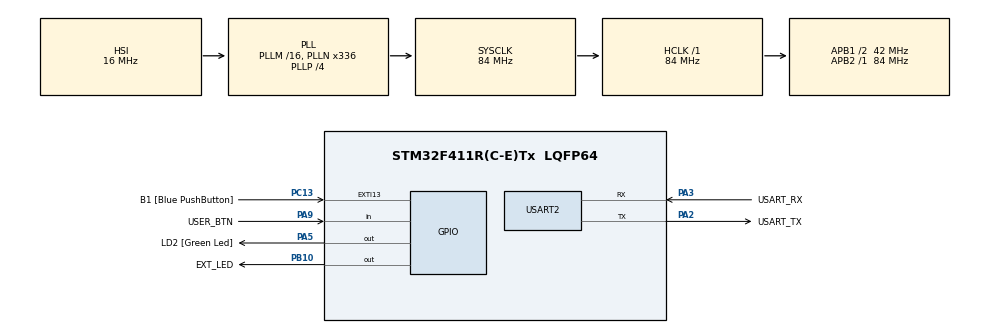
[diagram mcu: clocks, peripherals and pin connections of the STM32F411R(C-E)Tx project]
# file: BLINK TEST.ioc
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Mcu.Family=STM32F4
Mcu.Name=STM32F411R(C-E)Tx
Mcu.Package=LQFP64
NVIC.PriorityGroup=NVIC_PRIORITYGROUP_0
PA13.GPIO_Label=TMS
PA13.Mode=Serial_Wire
PA13.Signal=SYS_JTMS-SWDIO
PA14.GPIO_Label=TCK
PA14.Mode=Serial_Wire
PA14.Signal=SYS_JTCK-SWCLK
PA2.GPIO_Label=USART_TX
PA2.Mode=Asynchronous
PA2.Signal=USART2_TX
PA3.GPIO_Label=USART_RX
PA3.Mode=Asynchronous
PA3.Signal=USART2_RX
PA5.GPIO_Label=LD2 [Green Led]
PA5.Signal=GPIO_Output
PA9.GPIO_Label=USER_BTN
PA9.GPIO_Mode=GPIO_MODE_INPUT
PA9.GPIO_PuPd=GPIO_PULLUP
PA9.Signal=GPIO_Input
PB10.GPIO_Label=EXT_LED
PB10.Signal=GPIO_Output
PC13-ANTI_TAMP.GPIO_Label=B1 [Blue PushButton]
PC13-ANTI_TAMP.GPIO_ModeDefaultEXTI=GPIO_MODE_IT_FALLING
PC13-ANTI_TAMP.Signal=GPXTI13
PC14-OSC32_IN.Mode=LSE-External-Oscillator
PC14-OSC32_IN.Signal=RCC_OSC32_IN
PC15-OSC32_OUT.Mode=LSE-External-Oscillator
PC15-OSC32_OUT.Signal=RCC_OSC32_OUT
PH0\ -\ OSC_IN.Mode=HSE-External-Clock-Source
PH0\ -\ OSC_IN.Signal=RCC_OSC_IN
PH1\ -\ OSC_OUT.Mode=HSE-External-Clock-Source
PH1\ -\ OSC_OUT.Signal=RCC_OSC_OUT
ProjectManager.HeapSize=0x200
ProjectManager.StackSize=0x400
ProjectManager.TargetToolchain=STM32CubeIDE
RCC.48MHZClocksFreq_Value=84000000
RCC.AHBFreq_Value=84000000
RCC.APB1CLKDivider=RCC_HCLK_DIV2
RCC.APB1Freq_Value=42000000
RCC.APB1TimFreq_Value=84000000
RCC.APB2Freq_Value=84000000
RCC.APB2TimFreq_Value=84000000
RCC.CortexFreq_Value=84000000
RCC.FLatency-AdvancedSettings=FLASH_LATENCY_2
RCC.HCLKFreq_Value=84000000
RCC.HSE_VALUE=8000000
RCC.HSI_VALUE=16000000
RCC.PLLN=336
RCC.PLLP=RCC_PLLP_DIV4
RCC.SYSCLKFreq_VALUE=84000000
RCC.SYSCLKSource=RCC_SYSCLKSOURCE_PLLCLK
RCC.VCOOutputFreq_Value=336000000
USART2.VirtualMode=VM_ASYNC
board=NUCLEO-F411RE

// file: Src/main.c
/* USER CODE BEGIN Header */
/**
  ******************************************************************************
  * @file           : main.c
  * @brief          : Main program body
  ******************************************************************************
  * @attention
  *
  * Copyright (c) 2026 STMicroelectronics.
  * All rights reserved.
  *
  * This software is licensed under terms that can be found in the LICENSE file
  * in the root directory of this software component.
  * If no LICENSE file comes with this software, it is provided AS-IS.
  *
  ******************************************************************************
  */
/* USER CODE END Header */
#include "main.h"

/* USER CODE BEGIN Includes */
#include <stdio.h>
/* USER CODE END Includes */

UART_HandleTypeDef huart2;

void SystemClock_Config(void);
static void MX_GPIO_Init(void);
static void MX_USART2_UART_Init(void);

int main(void)
{

  /* MCU Configuration--------------------------------------------------------*/

  /* Reset of all peripherals, Initializes the Flash interface and the Systick. */
  HAL_Init();

  /* Configure the system clock */
  SystemClock_Config();

  /* Initialize all configured peripherals */
  MX_GPIO_Init();
  MX_USART2_UART_Init();
  /* USER CODE BEGIN 2 */
    printf("\r\n");
    printf("====================================\r\n");
    printf("  STM32F411RE - Day 4 - UART Hello\r\n");
    printf("  Build: %s %s\r\n", __DATE__, __TIME__);
    printf("====================================\r\n");
    /* USER CODE END 2 */

    /* USER CODE BEGIN WHILE */
      uint32_t counter = 0;
      uint32_t base_delay = 100;
      GPIO_PinState last_btn_state = GPIO_PIN_SET;  // start in released state
      while (1)
      {
        /* USER CODE END WHILE */

        /* USER CODE BEGIN 3 */
        // Read button. Active-LOW: pressed = GPIO_PIN_RESET, released = GPIO_PIN_SET
        GPIO_PinState btn_state = HAL_GPIO_ReadPin(USER_BTN_GPIO_Port, USER_BTN_Pin);

        // Detect button state CHANGES (edge detection) and print
        if (btn_state != last_btn_state) {
          if (btn_state == GPIO_PIN_RESET) {
            printf("[%lu] Button pressed - fast mode\r\n", counter);
            base_delay = 30;
          } else {
            printf("[%lu] Button released - normal mode\r\n", counter);
            base_delay = 100;
          }
          last_btn_state = btn_state;
        }

        // Print counter every 10 ticks (~1 second at base_delay=100)
        if (counter % 10 == 0) {
          printf("[%lu] tick (delay=%lu ms)\r\n", counter, base_delay);
        }

        // External LED toggles every 2 ticks
        if (counter % 2 == 0) {
          HAL_GPIO_TogglePin(EXT_LED_GPIO_Port, EXT_LED_Pin);
        }

        // LD2 onboard toggles every 5 ticks
        if (counter % 5 == 0) {
          HAL_GPIO_TogglePin(LD2_GPIO_Port, LD2_Pin);
        }

        HAL_Delay(base_delay);
        counter++;
        }
      /* USER CODE END 3 */
}

void SystemClock_Config(void)
{
  RCC_OscInitTypeDef RCC_OscInitStruct = {0};
  RCC_ClkInitTypeDef RCC_ClkInitStruct = {0};

  /** Configure the main internal regulator output voltage
  */
  __HAL_RCC_PWR_CLK_ENABLE();
  __HAL_PWR_VOLTAGESCALING_CONFIG(PWR_REGULATOR_VOLTAGE_SCALE1);

  /** Initializes the RCC Oscillators according to the specified parameters
  * in the RCC_OscInitTypeDef structure.
  */
  RCC_OscInitStruct.OscillatorType = RCC_OSCILLATORTYPE_HSI;
  RCC_OscInitStruct.HSIState = RCC_HSI_ON;
  RCC_OscInitStruct.HSICalibrationValue = RCC_HSICALIBRATION_DEFAULT;
  RCC_OscInitStruct.PLL.PLLState = RCC_PLL_ON;
  RCC_OscInitStruct.PLL.PLLSource = RCC_PLLSOURCE_HSI;
  RCC_OscInitStruct.PLL.PLLM = 16;
  RCC_OscInitStruct.PLL.PLLN = 336;
  RCC_OscInitStruct.PLL.PLLP = RCC_PLLP_DIV4;
  RCC_OscInitStruct.PLL.PLLQ = 4;
  if (HAL_RCC_OscConfig(&RCC_OscInitStruct) != HAL_OK)
  {
    Error_Handler();
  }

  /** Initializes the CPU, AHB and APB buses clocks
  */
  RCC_ClkInitStruct.ClockType = RCC_CLOCKTYPE_HCLK|RCC_CLOCKTYPE_SYSCLK
                              |RCC_CLOCKTYPE_PCLK1|RCC_CLOCKTYPE_PCLK2;
  RCC_ClkInitStruct.SYSCLKSource = RCC_SYSCLKSOURCE_PLLCLK;
  RCC_ClkInitStruct.AHBCLKDivider = RCC_SYSCLK_DIV1;
  RCC_ClkInitStruct.APB1CLKDivider = RCC_HCLK_DIV2;
  RCC_ClkInitStruct.APB2CLKDivider = RCC_HCLK_DIV1;

  if (HAL_RCC_ClockConfig(&RCC_ClkInitStruct, FLASH_LATENCY_2) != HAL_OK)
  {
    Error_Handler();
  }
}

static void MX_USART2_UART_Init(void)
{

  huart2.Instance = USART2;
  huart2.Init.BaudRate = 115200;
  huart2.Init.WordLength = UART_WORDLENGTH_8B;
  huart2.Init.StopBits = UART_STOPBITS_1;
  huart2.Init.Parity = UART_PARITY_NONE;
  huart2.Init.Mode = UART_MODE_TX_RX;
  huart2.Init.HwFlowCtl = UART_HWCONTROL_NONE;
  huart2.Init.OverSampling = UART_OVERSAMPLING_16;
  if (HAL_UART_Init(&huart2) != HAL_OK)
  {
    Error_Handler();
  }

}

static void MX_GPIO_Init(void)
{
  GPIO_InitTypeDef GPIO_InitStruct = {0};

  /* GPIO Ports Clock Enable */
  __HAL_RCC_GPIOC_CLK_ENABLE();
  __HAL_RCC_GPIOH_CLK_ENABLE();
  __HAL_RCC_GPIOA_CLK_ENABLE();
  __HAL_RCC_GPIOB_CLK_ENABLE();

  /*Configure GPIO pin Output Level */
  HAL_GPIO_WritePin(LD2_GPIO_Port, LD2_Pin, GPIO_PIN_RESET);

  /*Configure GPIO pin Output Level */
  HAL_GPIO_WritePin(EXT_LED_GPIO_Port, EXT_LED_Pin, GPIO_PIN_RESET);

  /*Configure GPIO pin : B1_Pin */
  GPIO_InitStruct.Pin = B1_Pin;
  GPIO_InitStruct.Mode = GPIO_MODE_IT_FALLING;
  GPIO_InitStruct.Pull = GPIO_NOPULL;
  HAL_GPIO_Init(B1_GPIO_Port, &GPIO_InitStruct);

  /*Configure GPIO pin : LD2_Pin */
  GPIO_InitStruct.Pin = LD2_Pin;
  GPIO_InitStruct.Mode = GPIO_MODE_OUTPUT_PP;
  GPIO_InitStruct.Pull = GPIO_NOPULL;
  GPIO_InitStruct.Speed = GPIO_SPEED_FREQ_LOW;
  HAL_GPIO_Init(LD2_GPIO_Port, &GPIO_InitStruct);

  /*Configure GPIO pin : EXT_LED_Pin */
  GPIO_InitStruct.Pin = EXT_LED_Pin;
  GPIO_InitStruct.Mode = GPIO_MODE_OUTPUT_PP;
  GPIO_InitStruct.Pull = GPIO_NOPULL;
  GPIO_InitStruct.Speed = GPIO_SPEED_FREQ_LOW;
  HAL_GPIO_Init(EXT_LED_GPIO_Port, &GPIO_InitStruct);

  /*Configure GPIO pin : USER_BTN_Pin */
  GPIO_InitStruct.Pin = USER_BTN_Pin;
  GPIO_InitStruct.Mode = GPIO_MODE_INPUT;
  GPIO_InitStruct.Pull = GPIO_PULLUP;
  HAL_GPIO_Init(USER_BTN_GPIO_Port, &GPIO_InitStruct);

}

/* USER CODE BEGIN 4 */

/**
 * Retarget printf() to USART2.
 * The C library calls _write() whenever printf has bytes to output.
 * We forward those bytes to USART2 via HAL_UART_Transmit, which
 * the ST-Link bridge then forwards over USB to the laptop terminal.
 */
int _write(int file, char *ptr, int len)
{
  HAL_UART_Transmit(&huart2, (uint8_t *)ptr, len, HAL_MAX_DELAY);
  return len;
}

/* USER CODE END 4 */

void Error_Handler(void)
{
  __disable_irq();
  while (1)
  {
  }
}
